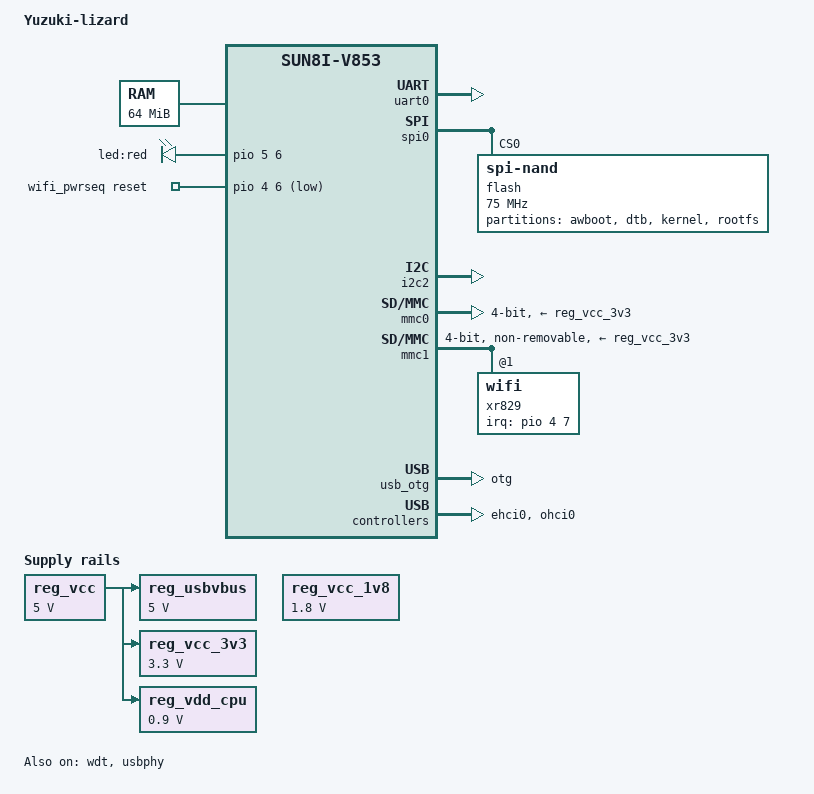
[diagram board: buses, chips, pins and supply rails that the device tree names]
// SPDX-License-Identifier: (GPL-2.0-only OR MIT)
// Copyright (C) 2024 Andras Szemzo.andras@gmail.com>

/dts-v1/;
#include <dt-bindings/gpio/gpio.h>
#include <dt-bindings/leds/common.h>
#include "sun8i-v853.dtsi"

/ {
	model = "Yuzuki-lizard";
	compatible = "yuzukihd,lizard", "allwinner,sun8i-v853", "allwinner,sun8i";

	aliases {
		serial0 = &uart0;
	};

	chosen {
		stdout-path = "serial0:115200n8";
	};

	memory {
	    reg = <0x40000000 0x4000000>;
	};

	reg_vcc: vcc {
		compatible = "regulator-fixed";
		regulator-name = "vcc";
		regulator-min-microvolt = <5000000>;
		regulator-max-microvolt = <5000000>;
	};

	reg_vcc_1v8: vcc-1v8 {
		compatible = "regulator-fixed";
		regulator-name = "vcc-1v8";
		regulator-min-microvolt = <1800000>;
		regulator-max-microvolt = <1800000>;
	};

	reg_usbvbus: usbvbus {
		compatible = "regulator-fixed";
		regulator-name = "usbvbus";
		regulator-min-microvolt = <5000000>;
		regulator-max-microvolt = <5000000>;
		vin-supply = <&reg_vcc>;
	};

	reg_vcc_3v3: vcc-3v3 {
		compatible = "regulator-fixed";
		regulator-name = "vcc-3v3";
		regulator-min-microvolt = <3300000>;
		regulator-max-microvolt = <3300000>;
		vin-supply = <&reg_vcc>;
	};

	reg_vdd_cpu: vdd-cpu {
		compatible = "regulator-fixed";
		regulator-name = "vdd-cpu";
		regulator-min-microvolt = <900000>;
		regulator-max-microvolt = <900000>;
		vin-supply = <&reg_vcc>;
	};

	leds {
		compatible = "gpio-leds";

		status_led {
			linux,default-trigger = "heartbeat";
			label = "led:red";
			gpios = <&pio 5 6 GPIO_ACTIVE_HIGH>;
		};
	};

	wifi_pwrseq: wifi-pwrseq {
		compatible = "mmc-pwrseq-simple";
		reset-gpios = <&pio 4 6 GPIO_ACTIVE_LOW>; /* PE6 */
	};
};

&dcxo {
	clock-frequency = <24000000>;
};

&cpu0 {
	cpu-supply = <&reg_vdd_cpu>;
};

&pio {
	vcc-pa-supply = <&reg_vcc_3v3>;
	vcc-pc-supply = <&reg_vcc_3v3>;
	vcc-pd-supply = <&reg_vcc_3v3>;
	vcc-pe-supply = <&reg_vcc_3v3>;
	vcc-pf-supply = <&reg_vcc_3v3>;
	vcc-ph-supply = <&reg_vcc_3v3>;
};

&uart0 {
	pinctrl-0 = <&uart0_ph9_pins>;
	pinctrl-names = "default";
	status = "okay";
};

&wdt {
	status = "okay";
};

&spi0 {
	pinctrl-0 = <&spi0_pins>;
	pinctrl-names = "default";
	status = "okay";

	flash@0 {
		compatible = "spi-nand";
		spi-max-frequency = <75000000>;
		reg = <0>;

		partitions {
			compatible = "fixed-partitions";
			#address-cells = <1>;
			#size-cells = <1>;

			partition@0 {
				label = "awboot";
				reg = <0x00000000 0x00020000>;	/* 128K */
			};

			partition@20000 {
				label = "dtb";
				reg = <0x00020000 0x00020000>;  /* 128k */
			};

			partition@40000 {
				label = "kernel";
				reg = <0x00040000 0x00800000>;  /* 8MB */
			};

			partition@840000 {
				label = "rootfs";
				reg = <0x00840000 0x077c0000>;
			};
		};
	};
};

&i2c2 {
	pinctrl-0 = <&i2c2_ph11_pins>;
	pinctrl-names = "default";
	status = "okay";
};

&mmc0 {
	bus-width = <4>;
	broken-cd;
	disable-wp;
	vmmc-supply = <&reg_vcc_3v3>;
	vqmmc-supply = <&reg_vcc_3v3>;
	pinctrl-0 = <&mmc0_pins>;
	pinctrl-names = "default";
	status = "okay";
};

&mmc1 {
	bus-width = <4>;
	mmc-pwrseq = <&wifi_pwrseq>;
	non-removable;
	vmmc-supply = <&reg_vcc_3v3>;
	vqmmc-supply = <&reg_vcc_3v3>;
	pinctrl-0 = <&mmc1_pins>;
	pinctrl-names = "default";
	status = "okay";

	xr829: wifi@1 {
		reg = <1>;
		interrupt-parent = <&pio>;
		interrupts = <4 7 IRQ_TYPE_LEVEL_HIGH>; /* PE7 */
		interrupt-names = "host-wake";
	};
};

&usb_otg {
	dr_mode = "otg";
	status = "okay";
};

&ehci0 {
	status = "okay";
};

&ohci0 {
	status = "okay";
};

&usbphy {
	usb0_vbus-supply = <&reg_usbvbus>;
	usb0_id_det-gpio = <&pio 4 9 GPIO_ACTIVE_LOW>;
	status = "okay";
};
